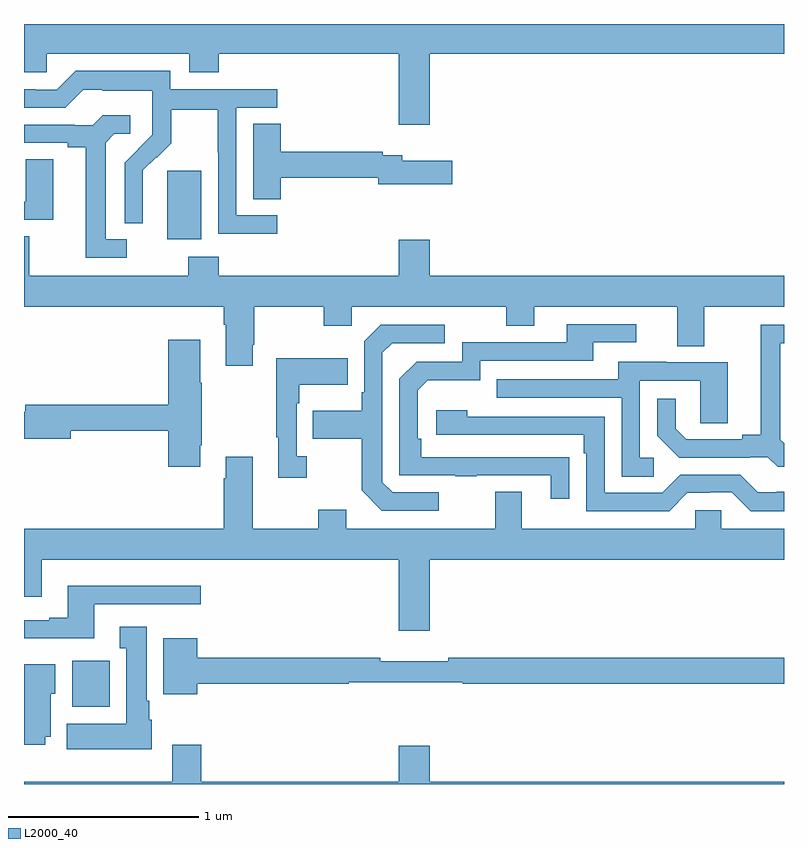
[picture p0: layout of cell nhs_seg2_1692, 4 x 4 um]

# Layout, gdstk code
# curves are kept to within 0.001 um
import gdstk
lib = gdstk.Library(unit=1e-6, precision=1e-09)
def R(c, l, rs):  # rectangles x0, y0, x1, y1
    for r in rs: c.add(gdstk.rectangle(r[:2], r[2:], *l))
def P(c, l, *ps):  # polygons
    for p in ps: c.add(gdstk.Polygon(p, *l))
L2000_40 = (2000, 40)

nhs_seg2_1692 = lib.new_cell('nhs_seg2_1692')
R(nhs_seg2_1692, L2000_40, [(199.253,636.206,199.45,636.448), (199.754,638.666,199.933,639.027)])
P(nhs_seg2_1692, L2000_40, [(201.136,639.644),(203,639.644),(203,639.8),(199,639.8),(199,639.546),(199.119,639.546),(199.119,639.644),(199.871,639.644),(199.871,639.545),(200.024,639.545),(200.024,639.644),(200.972,639.644),(200.972,639.27),(201.136,639.27)],
  [(200.332,638.793),(200.118,638.793),(200.118,639.36),(200.332,639.36),(200.332,639.456),(199.77,639.456),(199.77,639.553),(199.273,639.553),(199.173,639.453),(199.058,639.453),(199.058,639.456),(199,639.456),(199,639.36),(199.218,639.36),(199.311,639.453),(199.411,639.453),(199.411,639.449),(199.674,639.449),(199.674,639.315),(199.676,639.315),(199.676,639.218),(199.53,639.07),(199.53,638.752),(199.626,638.752),(199.625,639.029),(199.695,639.099),(199.698,639.096),(199.775,639.173),(199.775,639.348),(200.02,639.348),(200.02,639.124),(200.022,639.124),(200.022,638.695),(200.332,638.695)],
  [(199.54,638.667),(199.429,638.667),(199.429,639.175),(199.476,639.222),(199.558,639.222),(199.558,639.319),(199.414,639.319),(199.362,639.267),(199.268,639.267),(199.268,639.27),(199,639.27),(199,639.174),(199.229,639.174),(199.229,639.152),(199.325,639.152),(199.325,638.571),(199.54,638.571)],
  [(200.351,638.992),(200.864,638.992),(200.864,638.957),(201.253,638.957),(201.253,639.079),(200.992,639.079),(200.992,639.108),(200.888,639.108),(200.888,639.128),(200.351,639.128),(200.351,639.275),(200.207,639.275),(200.207,638.878),(200.351,638.878)],
  [(199.153,639.089),(199.008,639.089),(199.008,638.865),(199,638.865),(199,638.769),(199.153,638.769)],
  [(200.203,638.113),(200.211,638.113),(200.211,638.312),(200.578,638.312),(200.578,638.213),(200.724,638.213),(200.724,638.312),(201.538,638.312),(201.538,638.213),(201.685,638.213),(201.685,638.312),(202.439,638.312),(202.439,638.104),(202.579,638.104),(202.579,638.312),(203,638.312),(203,638.476),(201.136,638.476),(201.136,638.665),(200.972,638.665),(200.972,638.476),(200.024,638.476),(200.024,638.575),(199.864,638.575),(199.864,638.476),(199.027,638.476),(199.027,638.684),(199,638.684),(199,638.312),(200.051,638.312),(200.051,638.216),(200.063,638.216),(200.063,638.001),(200.203,638.001)],
  [(201.869,637.52),(201.092,637.521),(201.092,637.618),(201.072,637.618),(201.072,637.872),(201.125,637.925),(201.402,637.925),(201.402,638.028),(201.997,638.028),(201.997,638.124),(202.222,638.124),(202.222,638.22),(201.857,638.22),(201.857,638.124),(201.306,638.124),(201.306,638.022),(201.066,638.022),(200.976,637.932),(200.976,637.425),(201.271,637.425),(201.271,637.42),(201.383,637.42),(201.383,637.425),(201.773,637.425),(201.773,637.302),(201.869,637.302)],
  [(203,637.594),(202.981,637.613),(202.981,638.121),(203,638.121),(203,638.217),(202.877,638.217),(202.877,637.637),(202.781,637.637),(202.781,637.614),(202.486,637.614),(202.429,637.671),(202.429,637.828),(202.332,637.828),(202.332,637.634),(202.448,637.518),(202.82,637.518),(202.82,637.521),(202.914,637.521),(202.966,637.469),(203,637.469)],
  [(201.184,637.335),(200.94,637.335),(200.886,637.389),(200.886,638.07),(200.937,638.121),(201.214,638.121),(201.214,638.217),(200.877,638.217),(200.79,638.13),(200.79,637.861),(200.778,637.861),(200.778,637.765),(200.521,637.765),(200.521,637.618),(200.778,637.618),(200.778,637.345),(200.883,637.239),(201.184,637.239)],
  [(199.927,637.582),(199.935,637.582),(199.935,637.913),(199.927,637.913),(199.927,638.137),(199.76,638.137),(199.76,637.796),(199.007,637.796),(199.007,637.76),(199,637.76),(199,637.618),(199.246,637.618),(199.246,637.66),(199.76,637.66),(199.76,637.47),(199.927,637.47)],
  [(200.488,637.526),(200.436,637.526),(200.436,637.805),(200.449,637.805),(200.449,637.901),(200.705,637.901),(200.705,638.041),(200.328,638.041),(200.328,637.625),(200.339,637.625),(200.339,637.413),(200.488,637.413)],
  [(202.315,637.518),(202.242,637.518),(202.242,637.923),(202.56,637.923),(202.56,637.699),(202.705,637.699),(202.705,638.019),(202.381,638.019),(202.381,638.023),(202.127,638.023),(202.127,637.929),(201.487,637.929),(201.487,637.833),(202.146,637.833),(202.146,637.417),(202.315,637.417)],
  [(203,637.339),(202.963,637.339),(202.963,637.335),(202.863,637.335),(202.77,637.428),(202.455,637.428),(202.359,637.332),(202.056,637.332),(202.056,637.734),(201.332,637.734),(201.332,637.768),(201.171,637.768),(201.171,637.638),(201.947,637.638),(201.947,637.541),(201.96,637.541),(201.96,637.236),(202.395,637.236),(202.491,637.332),(202.61,637.332),(202.61,637.335),(202.725,637.335),(202.825,637.235),(203,637.235)],
  [(201.136,636.98),(203,636.98),(203,637.144),(202.671,637.144),(202.671,637.242),(202.533,637.242),(202.533,637.144),(201.619,637.144),(201.619,637.339),(201.479,637.339),(201.479,637.144),(200.695,637.144),(200.695,637.243),(200.548,637.243),(200.548,637.144),(200.203,637.144),(200.203,637.522),(200.063,637.522),(200.063,637.409),(200.051,637.409),(200.051,637.144),(199,637.144),(199,636.786),(199.093,636.786),(199.093,636.98),(200.972,636.98),(200.972,636.606),(201.136,636.606)],
  [(199.369,636.747),(199.93,636.747),(199.93,636.844),(199.229,636.844),(199.229,636.676),(199.133,636.676),(199.133,636.663),(199,636.663),(199,636.566),(199.369,636.566)],
  [(199.672,636.138),(199.66,636.138),(199.66,636.238),(199.645,636.238),(199.645,636.628),(199.505,636.628),(199.505,636.515),(199.538,636.515),(199.538,636.118),(199.226,636.118),(199.226,635.984),(199.672,635.984)],
  [(199.912,636.328),(200.708,636.328),(200.708,636.336),(201.308,636.336),(201.308,636.328),(203,636.328),(203,636.464),(201.232,636.464),(201.232,636.445),(200.876,636.445),(200.876,636.464),(199.912,636.464),(199.912,636.568),(199.733,636.568),(199.733,636.272),(199.912,636.272)],
  [(199.111,636.05),(199.141,636.05),(199.141,636.276),(199.165,636.276),(199.165,636.43),(199.001,636.43),(199.001,636.124),(199,636.124),(199,636.006),(199.111,636.006)],
  [(203,635.812),(201.136,635.812),(201.136,636.001),(200.972,636.001),(200.972,635.812),(199.934,635.812),(199.934,636.007),(199.781,636.007),(199.781,635.812),(199,635.812),(199,635.8),(203,635.8)])

lib.write_gds('nhs_seg2_1692.gds')
